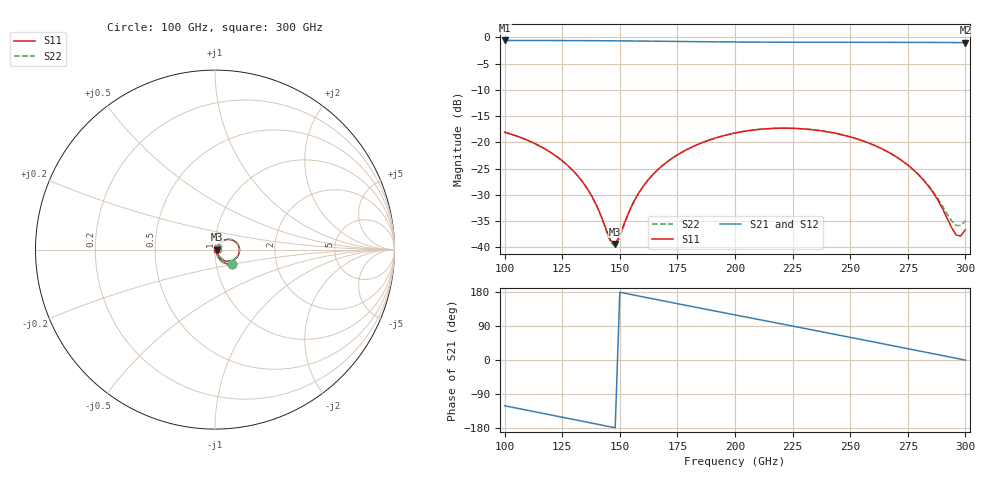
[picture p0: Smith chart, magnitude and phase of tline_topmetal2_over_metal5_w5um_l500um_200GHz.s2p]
#  GHZ S DB R 50
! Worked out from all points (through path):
!   101 points, 100 GHz to 300 GHz, reference 50 ohm
!   highest |S21| = -0.58 dB at 100 GHz (marker M1); lowest = -1.0 dB at 300 GHz (marker M2)
!   group delay of S21, straight-line fit = 3.32 ps
!   lowest |S11| = -39.4 dB at 148 GHz (marker M3), VSWR 1.02, Z = 51.1 + j0.000265 ohm
!   |S11| at or under -10 dB: start of sweep to end of sweep
!   |S22| runs from -39.8 to -17.3 dB; largest |S21 - S12| = 1.6e-12
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100  -18.07 -38.9  -0.58 -120.8  -0.58 -120.8  -18.08 -38.9
120  -21.93 -58.5  -0.59 -144.9  -0.59 -144.9  -21.94 -58.6
128  -24.67 -64.6  -0.61 -154.6  -0.61 -154.6  -24.67 -64.9
134  -27.63 -67.1  -0.62 -161.9  -0.62 -161.9  -27.65 -67.5
140  -32.11 -63.2  -0.63 -169.1  -0.63 -169.1  -32.17 -64.2
146  -38.74 -28.4  -0.65 -176.4  -0.65 -176.4  -39.07 -29.6
148  -39.37 0.0  -0.65 -178.8  -0.65 -178.8  -39.80 0.1
154  -33.21 46.4  -0.67 173.9  -0.67 173.9  -33.35 47.7
158  -29.80 51.9  -0.69 169.1  -0.69 169.1  -29.88 53.0
168  -24.62 49.6  -0.73 157.1  -0.73 157.1  -24.66 50.4
182  -20.76 38.1  -0.80 140.3  -0.80 140.3  -20.78 38.8
200  -18.22 19.9  -0.87 119.0  -0.87 119.0  -18.24 20.6
218  -17.32 0.5  -0.91 97.8  -0.91 97.8  -17.34 1.3
234  -17.61 -16.9  -0.93 78.8  -0.93 78.8  -17.64 -15.9
250  -18.96 -33.8  -0.93 59.8  -0.93 59.8  -18.99 -32.4
268  -22.23 -51.1  -0.94 38.3  -0.94 38.3  -22.25 -48.8
276  -24.69 -57.0  -0.95 28.6  -0.95 28.6  -24.69 -53.9
284  -28.37 -59.3  -0.96 19.0  -0.96 19.0  -28.26 -54.4
288  -31.00 -56.5  -0.97 14.2  -0.97 14.2  -30.70 -50.2
296  -37.68 -17.2  -0.98 4.5  -0.98 4.5  -35.85 -11.8
298  -37.86 4.9  -0.99 2.1  -0.99 2.1  -35.85 5.4
300  -36.66 24.0  -0.99 -0.3  -0.99 -0.3  -34.96 20.5
